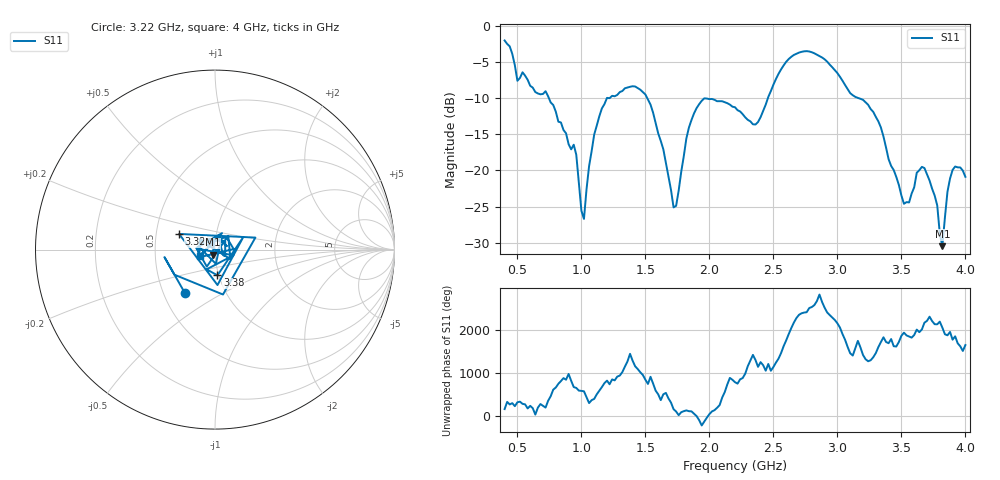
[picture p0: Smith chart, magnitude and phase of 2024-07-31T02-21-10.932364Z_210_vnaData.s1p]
!Created with skrf (http://scikit-rf.org).
# Hz S RI R 50.0
!freq ReS11 ImS11
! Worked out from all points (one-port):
!   181 points, 400 MHz to 4 GHz, reference 50 ohm
!   lowest |S11| = -30.5 dB at 3.82 GHz (marker M1), VSWR 1.06, Z = 48.8 - j2.7 ohm
!   |S11| at or under -10 dB: 746 MHz to 1.199 GHz (453.2 MHz wide, 46.6 % of centre); 1.515 GHz to 2.457 GHz (942.3 MHz wide, 47.5 % of centre); 3.165 GHz to end of sweep (the widest 3 of 4)
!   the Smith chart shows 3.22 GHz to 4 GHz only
!   S11 on the Smith chart (normalised r, x): 3.22 GHz: 0.64, -0.34; 3.32 GHz: 0.66, +0.12; 3.38 GHz: 0.99, -0.29; 4 GHz: 0.84, -0.06
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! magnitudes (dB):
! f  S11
! 400 MHz  -2.0
! 500 MHz  -7.6
! 720 MHz  -9.0
! 860 MHz  -14.4
! 960 MHz  -17.8
! 1.02 GHz  -26.7
! 1.06 GHz  -19.4
! 1.14 GHz  -12.5
! 1.3 GHz  -9.2
! 1.5 GHz  -9.5
! 1.64 GHz  -17.1
! 1.72 GHz  -25.1
! 1.76 GHz  -22.8
! 1.84 GHz  -14.1
! 1.92 GHz  -10.8
! 2.2 GHz  -11.3
! 2.36 GHz  -13.6
! 2.66 GHz  -4.0
! 3.1 GHz  -9.3
! 3.22 GHz  -10.6
! 3.32 GHz  -13.2
! 3.38 GHz  -16.8
! 3.56 GHz  -24.4
! 3.68 GHz  -19.7
! 3.78 GHz  -24.8
! 3.82 GHz  -30.5
! 3.9 GHz  -19.9
! 4 GHz  -20.9
